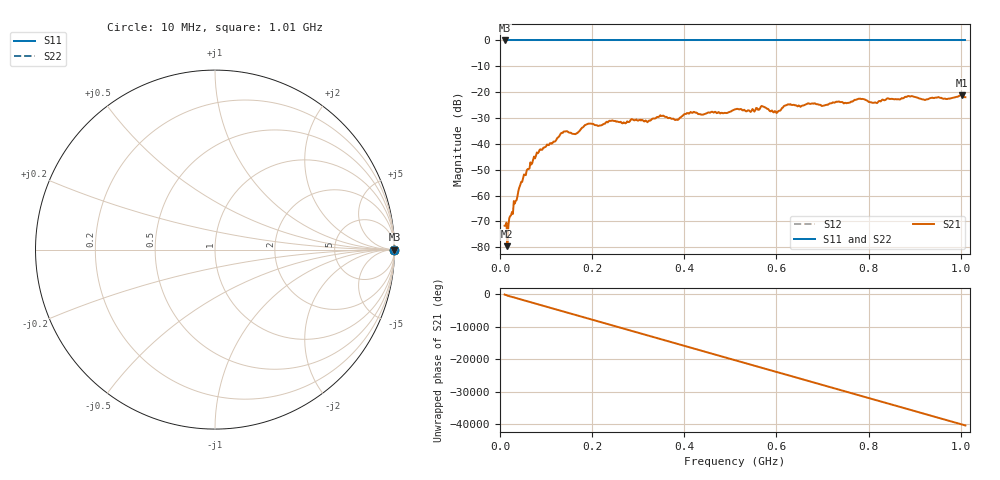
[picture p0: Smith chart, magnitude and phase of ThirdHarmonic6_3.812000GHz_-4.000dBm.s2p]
! 8/17/2025 1:12:44 PM
! C:\ANRITSUVNA\TEMP\TEMP.S2P
! CHANNEL.1
! TR.MEASUREMENT
! RAW.DATA
! RF.CORRECTION.OFF
! AVERAGING.OFF
! IF.BANDWIDTH: 5KHZ
! SWEEPTYPE:  FREQ.SWEEP(Linear)
! Reference Plane Port Info
! PORT:  PORT1  PORT2
! DISTANCE:  0  m  0  m
! TIME:  0  s  0  s
! PHASE.OFFSET:  0  deg.  0  deg.
! LOSS:  0  dB  0  dB
! REF.LOSS:  0  dB  0  dB
! REF.FREQ:  0  Hz  0  Hz
! Power Info
! POWER:  -20  dBm  -20  dBm
! EFF.POWER:  -20  dBm  -20  dBm
! SOURCE.ATTEN:  0  dB  0  dB
! TEST.ATTEN:  0  dB  0  dB
# GHZ S RI R 50.0
! FREQ.GHZ  S11RE  S11IM  S21RE  S21IM  S12RE  S12IM  S22RE  S22IM
!; PortSelection: Port_12
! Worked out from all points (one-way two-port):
!   501 points, 10 MHz to 1.01 GHz, reference 50 ohm
!   highest |S21| = -21.26 dB at 1.002 GHz (marker M1); lowest = -79.6 dB at 16 MHz (marker M2)
!   lowest |S11| = 0.0 dB at 10 MHz (marker M3)
!   |S11| at or under -10 dB: nowhere
!   |S22| runs from 0.0 to 0.0 dB; largest |S21 - S12| = 1.1
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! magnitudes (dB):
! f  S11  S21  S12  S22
! 10 MHz  0.0  -71.7  0.0  0.0
! 16 MHz  0.0  -79.6  0.0  0.0
! 48 MHz  0.0  -54.7  0.0  0.0
! 84 MHz  0.0  -43.2  0.0  0.0
! 136 MHz  0.0  -35.8  0.0  0.0
! 164 MHz  0.0  -36.2  0.0  0.0
! 178 MHz  0.0  -33.8  0.0  0.0
! 192 MHz  0.0  -32.2  0.0  0.0
! 322 MHz  0.0  -31.2  0.0  0.0
! 344 MHz  0.0  -29.6  0.0  0.0
! 384 MHz  0.0  -30.6  0.0  0.0
! 410 MHz  0.0  -28.3  0.0  0.0
! 510 MHz  0.0  -26.7  0.0  0.0
! 570 MHz  0.0  -25.5  0.0  0.0
! 598 MHz  0.0  -27.5  0.0  0.0
! 626 MHz  0.0  -24.7  0.0  0.0
! 678 MHz  0.0  -24.4  0.0  0.0
! 782 MHz  0.0  -22.5  0.0  0.0
! 814 MHz  0.0  -24.0  0.0  0.0
! 844 MHz  0.0  -22.5  0.0  0.0
! 1.002 GHz  0.0  -21.3  0.0  0.0
! 1.01 GHz  0.0  -22.0  0.0  0.0
